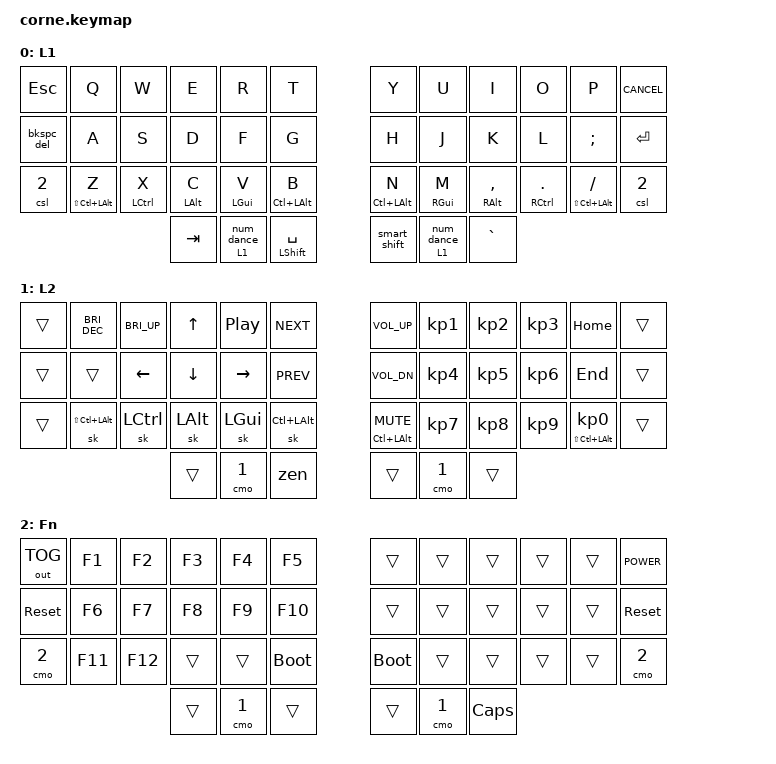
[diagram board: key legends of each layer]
/*
 * Copyright (c) 2020 The ZMK Contributors
 *
 * SPDX-License-Identifier: MIT
 */

#include <behaviors.dtsi>
#include <dt-bindings/zmk/bt.h>
#include <dt-bindings/zmk/keys.h>
#include <dt-bindings/zmk/outputs.h>

// Layers

#define L1 0
#define L2 1
#define Fn 2

// Meh key

#define MEH LS(LC(LALT))
#define CLT LC(LALT)

// Behaviors Constants

#define TAPPING_TERM_MS 280
#define QUICK_TAP_MS 175
#define GLOBAL_QUICK_TAP_MS 150

// Combos Constants

#define COMBO_TERM_DEFAULT 30
#define COMBO_QUICK_TAP_MS 100

/*************
 * BEHAVIORS *
 *************/

&mt {
    flavor = "balanced";
    tapping-term-ms = <TAPPING_TERM_MS>;
    quick-tap-ms = <QUICK_TAP_MS>;
    require-prior-idle-ms = <GLOBAL_QUICK_TAP_MS>;
};

&lt {
    flavor = "balanced";
    tapping-term-ms = <TAPPING_TERM_MS>;
    quick-tap-ms = <QUICK_TAP_MS>;
    require-prior-idle-ms = <GLOBAL_QUICK_TAP_MS>;
};

&sk {
    quick-release;
};

// Adds arrows and shift to smart layer for more comfortable navigation/selection moves

&num_word {
    layers = <L2>;
    continue-list = <BSPC DEL DOT COMMA PLUS MINUS STAR FSLH EQUAL RSHFT LEFT RIGHT UP DOWN>;
};

/ {
    behaviors {
        /*
     - tap: sticky shift
     - double-tap: caps-word (shift + tap mod-morph)
     - hold: shift

     From: https://github.com/urob/zmk-config/
     */

        /omit-if-no-ref/

        smart_shift: smart_shift {
            label = "SMART_SHIFT";
            compatible = "zmk,behavior-mod-morph";
            bindings = <&sk RSHFT>, <&caps_word>;

            mods = <(MOD_RSFT)>;
            #binding-cells = <0>;
        };

        /*
     - tap: num-word
     - hold: &mo layer

     From: https://github.com/urob/zmk-config/
     */

        /omit-if-no-ref/

        smart_num: smart_num {
            label = "SMART_NUM";
            compatible = "zmk,behavior-hold-tap";
            flavor = "balanced";
            tapping-term-ms = <TAPPING_TERM_MS>;
            bindings = <&mo>, <&num_dance>;

            #binding-cells = <2>;
        };

        /*
     - tap: &sl L2
     - tap x 2: &num_word

     From: https://github.com/urob/zmk-config/
     */

        /omit-if-no-ref/

        num_dance: num_dance {
            label = "NUM_DANCE";
            compatible = "zmk,behavior-tap-dance";
            tapping-term-ms = <TAPPING_TERM_MS>;
            bindings = <&sl L2>, <&num_word>;

            #binding-cells = <0>;
        };

        /*
     - tap: &kp <PARAM_2>
     - hold: &none

     Example: &nh 0 K_CANCEL
     */

        /omit-if-no-ref/

        nh: no_hold {
            label = "NO_HOLD";
            compatible = "zmk,behavior-hold-tap";
            flavor = "balanced";
            tapping-term-ms = <TAPPING_TERM_MS>;
            bindings = <&none>, <&kp>;

            #binding-cells = <2>;
        };

        /*
     - tap: sticky ctrl
     - hold: ctrl
     - double-tap: sticky meh (ctrl + tap mod-morph)
     - tap + hold: meh (ctrl + hold mod-morph)

     From: https://github.com/urob/zmk-config/
     */

        /omit-if-no-ref/

        ctrl_meh: ctrl_meh {
            label = "CTRL_MEH";
            compatible = "zmk,behavior-mod-morph";
            bindings = <&sk LCTRL>, <&sk MEH>;

            mods = <(MOD_LCTL)>;
            #binding-cells = <0>;
        };

        /*
     - tap: backspace
     - hold: repeat backspace
     - shift + tap: delete
     - shift + hold: repeat delete

     From: https://zmk.dev/docs/behaviors/mod-morph#advanced-configuration
     */

        /omit-if-no-ref/

        bkspc_del: backspace_delete {
            label = "BACKSPACE_DELETE";
            compatible = "zmk,behavior-mod-morph";
            bindings = <&kp BACKSPACE>, <&kp DELETE>;

            mods = <(MOD_LSFT|MOD_RSFT)>;
            #binding-cells = <0>;
        };

        /*
     - tap: brightness up
     - hold: repeat brightness up
     - shift + tap: brightness down
     - shift + hold: repeat brightness down
     */

        /omit-if-no-ref/

        brightness: brightness {
            label = "BRIGHTNESS";
            compatible = "zmk,behavior-mod-morph";
            bindings = <&kp C_BRI_UP>, <&kp C_BRI_DN>;

            mods = <(MOD_LSFT|MOD_RSFT)>;
            #binding-cells = <0>;
        };

        /*
     - tap: next track
     - shift + tap: prev track
     */

        /omit-if-no-ref/

        next_prev: next_prev {
            label = "NEXT_PREV_TRACK";
            compatible = "zmk,behavior-mod-morph";
            bindings = <&kp C_NEXT>, <&kp C_PREV>;

            mods = <(MOD_LSFT|MOD_RSFT)>;
            #binding-cells = <0>;
        };

        /*
     - tap: volume up
     - shift + tap: volume down
     */

        /omit-if-no-ref/

        volume: volume {
            label = "VOLUME";
            compatible = "zmk,behavior-mod-morph";
            bindings = <&kp C_VOL_UP>, <&kp C_VOL_DN>;

            mods = <(MOD_LSFT|MOD_RSFT)>;
            #binding-cells = <0>;
        };
    };
};

/**********
 * MACROS *
 **********/

/ {
    macros {
        /*
      Temporarily switches to a layer (&mo) while a modifier is held. This is
      an implementation of QMK's `LM()` using ZMK's parameterized macros.

      Params:
        1. Layer to switch to
        2. Modifier to press while layer is active

      Example:
        `&lm L1 LSHIFT`
     */

        /omit-if-no-ref/

        lm: lm {
            label = "Layer Mod";
            wait-ms = <0>;
            tap-ms = <0>;
            compatible = "zmk,behavior-macro-two-param";
            #binding-cells = <2>;
            bindings =
                <&macro_param_1to1>,
                <&macro_press>,
                <&mo MACRO_PLACEHOLDER &macro_param_2to1>,
                <&macro_press>,
                <&kp MACRO_PLACEHOLDER>,
                <&macro_pause_for_release>,
                <&macro_param_2to1>,
                <&macro_release>,
                <&kp MACRO_PLACEHOLDER &macro_param_1to1>,
                <&macro_release>,
                <&mo MACRO_PLACEHOLDER>;
        };

        /*
      Practically identical to &sl, except it triggers a `K_CANCEL` right before to clear
      any active smart layers. This prevents nested/stacked layer activation when needed.

      Params:
        1. Layer to switch to

      Example:
        `&csl L1`
     */

        /omit-if-no-ref/

        csl: clear_sl {
            label = "Clear + Sticky Layer";
            wait-ms = <0>;
            tap-ms = <0>;
            compatible = "zmk,behavior-macro-one-param";
            #binding-cells = <1>;
            bindings =
                <&macro_tap>,
                <&kp K_CANCEL &macro_param_1to1>,
                <&macro_press>,
                <&sl MACRO_PLACEHOLDER>,
                <&macro_pause_for_release>,
                <&macro_param_1to1>,
                <&macro_release>,
                <&sl MACRO_PLACEHOLDER>;
        };

        /*
      Practically identical to &mo, except it triggers a `K_CANCEL` right before to clear
      any active smart layers. This prevents nested/stacked layer activation when needed.
      It's also useful to maintain more consistent expectations when holding a cancel/exit layer
      key from a smart layer.

      Params:
        1. Layer to switch tokzkzkzkzkzkzkzkzkzkz

      Example:
        `&cmo L1`
     */

        /omit-if-no-ref/

        cmo: clear_mo {
            label = "Clear + Momentary Layer";
            wait-ms = <0>;
            tap-ms = <0>;
            compatible = "zmk,behavior-macro-one-param";
            #binding-cells = <1>;
            bindings =
                <&macro_tap>,
                <&kp K_CANCEL &macro_param_1to1>,
                <&macro_press>,
                <&mo MACRO_PLACEHOLDER>,
                <&macro_pause_for_release>,
                <&macro_param_1to1>,
                <&macro_release>,
                <&mo MACRO_PLACEHOLDER>;
        };

        /*
     - tap: command + K
     - then: Z
     */

        /omit-if-no-ref/

        zen: zen {
            label = "ZM_zen";
            compatible = "zmk,behavior-macro";
            #binding-cells = <0>;
            bindings = <&kp LG(K) &kp Z>;
        };
    };
};

/**********
 * KEYMAP *
 **********/

/ {
    combos {
        compatible = "zmk,combos";

        excl {
            bindings = <&kp EXCLAMATION>;
            key-positions = <2 14>;
            timeout-ms = <30>;
            require-prior-idle-ms = <100>;
            slow-release;
            layers = <0 1>;
        };

        at {
            bindings = <&kp AT_SIGN>;
            key-positions = <3 15>;
            timeout-ms = <30>;
            require-prior-idle-ms = <100>;
            slow-release;
            layers = <0 1>;
        };

        hash {
            bindings = <&kp HASH>;
            key-positions = <4 16>;
            timeout-ms = <30>;
            require-prior-idle-ms = <100>;
            slow-release;
            layers = <0 1>;
        };

        dollar {
            bindings = <&kp DOLLAR>;
            key-positions = <5 17>;
            timeout-ms = <30>;
            require-prior-idle-ms = <100>;
            slow-release;
            layers = <0 1>;
        };

        caret {
            bindings = <&kp CARET>;
            key-positions = <14 26>;
            timeout-ms = <30>;
            require-prior-idle-ms = <100>;
            slow-release;
            layers = <0 1>;
        };

        ampersand {
            bindings = <&kp AMPERSAND>;
            key-positions = <15 27>;
            timeout-ms = <30>;
            require-prior-idle-ms = <100>;
            slow-release;
            layers = <0 1>;
        };

        star {
            bindings = <&kp STAR>;
            key-positions = <16 28>;
            timeout-ms = <30>;
            require-prior-idle-ms = <100>;
            slow-release;
            layers = <0 1>;
        };

        lpar {
            bindings = <&kp LPAR>;
            key-positions = <17 29>;
            timeout-ms = <30>;
            require-prior-idle-ms = <100>;
            slow-release;
            layers = <0 1>;
        };

        percent {
            bindings = <&kp PERCENT>;
            key-positions = <6 18>;
            timeout-ms = <30>;
            require-prior-idle-ms = <100>;
            slow-release;
            layers = <0 1>;
        };

        minus {
            bindings = <&kp MINUS>;
            key-positions = <7 19>;
            timeout-ms = <30>;
            require-prior-idle-ms = <100>;
            slow-release;
            layers = <0 1>;
        };

        equal {
            bindings = <&kp EQUAL>;
            key-positions = <8 20>;
            timeout-ms = <30>;
            require-prior-idle-ms = <100>;
            slow-release;
            layers = <0 1>;
        };

        semicolon {
            bindings = <&kp SEMICOLON>;
            key-positions = <9 21>;
            timeout-ms = <30>;
            require-prior-idle-ms = <100>;
            slow-release;
            layers = <0 1>;
        };

        rpar {
            bindings = <&kp RPAR>;
            key-positions = <18 30>;
            timeout-ms = <30>;
            require-prior-idle-ms = <100>;
            slow-release;
            layers = <0 1>;
        };

        lbkt {
            bindings = <&kp LBKT>;
            key-positions = <19 31>;
            timeout-ms = <30>;
            require-prior-idle-ms = <100>;
            slow-release;
            layers = <0 1>;
        };

        rbkt {
            bindings = <&kp RBKT>;
            key-positions = <20 32>;
            timeout-ms = <30>;
            require-prior-idle-ms = <100>;
            slow-release;
            layers = <0 1>;
        };

        backslash {
            bindings = <&kp BACKSLASH>;
            key-positions = <21 33>;
            timeout-ms = <30>;
            require-prior-idle-ms = <100>;
            slow-release;
            layers = <0 1>;
        };

        bt_clear {
            bindings = <&bt BT_CLR>;
            key-positions = <2 3 4>;
            timeout-ms = <30>;
            require-prior-idle-ms = <100>;
            slow-release;
            layers = <2>;
        };

        bt_sel_0 {
            bindings = <&bt BT_SEL 0>;
            key-positions = <1 13>;
            timeout-ms = <30>;
            require-prior-idle-ms = <100>;
            slow-release;
            layers = <2>;
        };

        bt_sel_1 {
            bindings = <&bt BT_SEL 1>;
            key-positions = <14 2>;
            timeout-ms = <30>;
            require-prior-idle-ms = <100>;
            slow-release;
            layers = <2>;
        };

        bt_sel_2 {
            bindings = <&bt BT_SEL 2>;
            key-positions = <3 15>;
            timeout-ms = <30>;
            require-prior-idle-ms = <100>;
            slow-release;
            layers = <2>;
        };

        bt_sel_3 {
            bindings = <&bt BT_SEL 3>;
            key-positions = <4 16>;
            timeout-ms = <30>;
            require-prior-idle-ms = <100>;
            slow-release;
            layers = <2>;
        };

        bt_sel_4 {
            bindings = <&bt BT_SEL 4>;
            key-positions = <5 17>;
            timeout-ms = <30>;
            require-prior-idle-ms = <100>;
            slow-release;
            layers = <2>;
        };
    };

    keymap {
        compatible = "zmk,keymap";

        L1 {
            // -----------------------------------------------------------------------------------------
            // |  TAB |  Q  |  W  |  E  |  R  |  T  |   |  Y  |  U   |  I  |  O  |  P  | BKSP |
            // | CTRL |  A  |  S  |  D  |  F  |  G  |   |  H  |  J   |  K  |  L  |  ;  |  '   |
            // | SHFT |  Z  |  X  |  C  |  V  |  B  |   |  N  |  M   |  ,  |  .  |  /  | ESC  |
            //                    | GUI | LWR | SPC |   | ENT | RSE  | ALT |

            bindings = <
&kp ESCAPE  &kp Q      &kp W        &kp E       &kp R           &kp T              &kp Y         &kp U            &kp I           &kp O          &kp P         &kp K_CANCEL
&bkspc_del  &kp A      &kp S        &kp D       &kp F           &kp G              &kp H         &kp J            &kp K           &kp L          &kp SEMI      &kp ENTER
&csl 2      &mt MEH Z  &mt LCTRL X  &mt LALT C  &mt LEFT_GUI V  &mt CLT B          &mt CLT N     &mt RIGHT_GUI M  &mt RALT COMMA  &mt RCTRL DOT  &mt MEH FSLH  &csl 2
                                    &kp TAB     &smart_num 1 0  &mt LSHFT SPACE    &smart_shift  &smart_num 1 0   &kp GRAVE
            >;

            label = "L1";
        };

        L2 {
            // -----------------------------------------------------------------------------------------
            // |  TAB |  1  |  2  |  3  |  4  |  5  |   |  6  |  7  |  8  |  9  |  0  | BKSP |
            // | BTCLR| BT1 | BT2 | BT3 | BT4 | BT5 |   | LFT | DWN |  UP | RGT |     |      |
            // | SHFT |     |     |     |     |     |   |     |     |     |     |     |      |
            //                    | GUI |     | SPC |   | ENT |     | ALT |

            bindings = <
&trans  &kp C_BRI_DEC  &kp C_BRI_UP  &kp UP    &kp C_PLAY_PAUSE  &kp C_NEXT    &kp C_VOL_UP    &kp KP_NUMBER_1  &kp KP_NUMBER_2  &kp KP_NUMBER_3  &kp HOME             &trans
&trans  &trans         &kp LEFT      &kp DOWN  &kp RIGHT         &kp C_PREV    &kp C_VOL_DN    &kp KP_NUMBER_4  &kp KP_NUMBER_5  &kp KP_NUMBER_6  &kp END              &trans
&trans  &sk MEH        &sk LCTRL     &sk LALT  &sk LGUI          &sk CLT       &mt CLT K_MUTE  &kp KP_NUMBER_7  &kp KP_NUMBER_8  &kp KP_NUMBER_9  &mt MEH KP_NUMBER_0  &trans
                                     &trans    &cmo 1            &zen          &trans          &cmo 1           &trans
            >;

            label = "L2";
        };

        Fn {
            // -----------------------------------------------------------------------------------------
            // |  TAB |  !  |  @  |  #  |  $  |  %  |   |  ^  |  &  |  *  |  (  |  )  | BKSP |
            // | CTRL |     |     |     |     |     |   |  -  |  =  |  [  |  ]  |  \  |  `   |
            // | SHFT |     |     |     |     |     |   |  _  |  +  |  {  |  }  | "|" |  ~   |
            //                    | GUI |     | SPC |   | ENT |     | ALT |

            bindings = <
&out OUT_TOG  &kp F1   &kp F2   &kp F3  &kp F4  &kp F5         &trans       &trans  &trans    &trans  &trans  &kp C_POWER
&sys_reset    &kp F6   &kp F7   &kp F8  &kp F9  &kp F10        &trans       &trans  &trans    &trans  &trans  &sys_reset
&cmo 2        &kp F11  &kp F12  &trans  &trans  &bootloader    &bootloader  &trans  &trans    &trans  &trans  &cmo 2
                                &trans  &cmo 1  &trans         &trans       &cmo 1  &kp CLCK
            >;

            label = "Fn";
        };
    };
};
